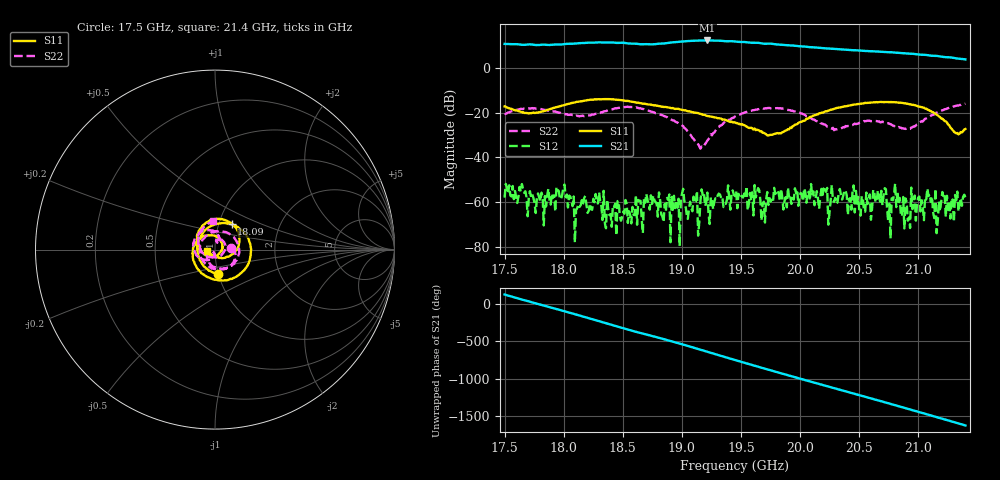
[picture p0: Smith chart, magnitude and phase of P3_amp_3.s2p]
!Created with skrf (http://scikit-rf.org).
# GHz S RI R 50.0
!freq ReS11 ImS11 ReS21 ImS21 ReS12 ImS12 ReS22 ImS22
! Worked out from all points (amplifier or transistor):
!   401 points, 17.5 GHz to 21.4 GHz, reference 50 ohm
!   highest |S21| = 12.3 dB at 19.22 GHz (marker M1)
!   |S21| within 3 dB of that: start of sweep to 20.08 GHz
!   unconditionally stable (mu >= 1): start of sweep to end of sweep
!   at 18.14 GHz: K = 156.83, MAG = 11.3 dB, |S12| = -61.4 dB
!   at 19.45 GHz: K = 91.47, MAG = 12.0 dB, |S12| = -57.3 dB
!   at 21.4 GHz: K = 242.15, MAG = 4.0 dB, |S12| = -57.8 dB
!   S11 on the Smith chart (normalised r, x): 17.5 GHz: 0.99, -0.28; 18.09 GHz: 1.15, +0.33; 21.4 GHz: 0.92, -0.01
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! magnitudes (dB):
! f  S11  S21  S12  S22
! 17.5 GHz  -17.1  10.8  -58.0  -20.8
! 17.84 GHz  -19.1  10.5  -57.2  -18.8
! 18.01 GHz  -16.6  10.7  -52.1  -20.5
! 18.09 GHz  -15.5  10.9  -57.5  -21.1
! 18.15 GHz  -14.8  11.2  -59.1  -21.4
! 18.49 GHz  -14.4  11.3  -66.8  -17.5
! 18.81 GHz  -17.0  10.9  -55.6  -20.5
! 19.22 GHz  -21.4  12.3  -55.7  -32.4
! 19.45 GHz  -24.3  11.9  -57.3  -21.7
! 19.64 GHz  -27.6  11.3  -56.4  -18.6
! 19.68 GHz  -29.0  11.0  -60.8  -18.0
! 19.74 GHz  -29.9  10.9  -58.2  -17.8
! 20.1 GHz  -21.6  9.3  -56.9  -22.8
! 20.52 GHz  -15.9  7.8  -57.3  -24.0
! 20.71 GHz  -15.2  7.2  -56.8  -24.3
! 20.76 GHz  -15.2  7.1  -60.7  -24.9
! 20.81 GHz  -15.3  6.9  -51.6  -26.3
! 20.9 GHz  -15.9  6.5  -59.9  -26.9
! 21.1 GHz  -19.0  5.6  -56.4  -21.9
! 21.15 GHz  -20.4  5.5  -54.0  -20.1
! 21.2 GHz  -22.7  5.0  -55.4  -18.8
! 21.4 GHz  -27.3  3.9  -57.8  -16.0
